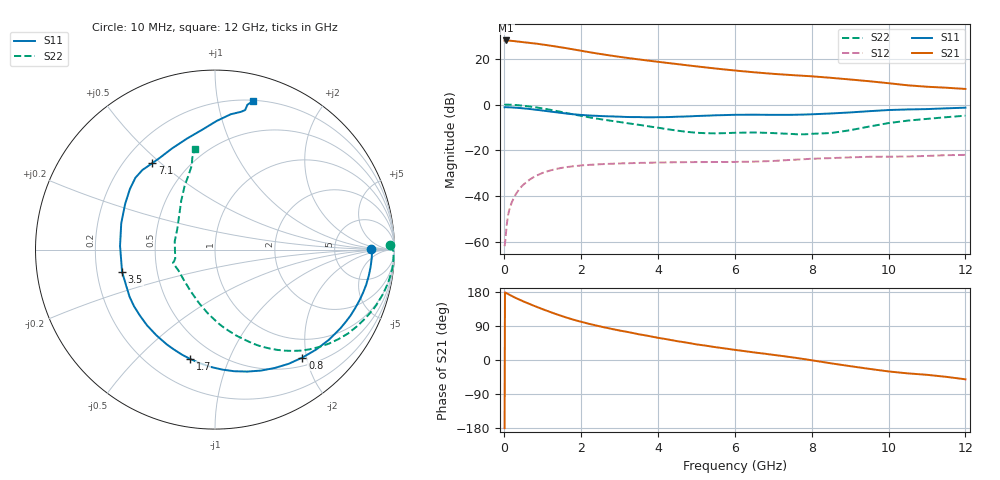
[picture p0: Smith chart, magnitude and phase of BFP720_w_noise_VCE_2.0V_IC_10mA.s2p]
! Infineon Technologies  Discrete & RF Semiconductors
! BFP720
! VCE =  2.0 V,  IC =  10 mA
! Common Emitter S-Parameters:  Aug 2012
# GHz  S  MA  R  50
!  f  S11  S21  S12  S22
! GHz  MAG  ANG  MAG  ANG  MAG  ANG  MAG  ANG
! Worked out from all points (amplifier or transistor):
!   105 points, 10 MHz to 12 GHz, reference 50 ohm
!   highest |S21| = 28.0 dB at 50 MHz (marker M1)
!   |S21| within 3 dB of that: start of sweep to 1.474 GHz
!   unconditionally stable (mu >= 1): 5.531 GHz to 11.32 GHz
!   at 300 MHz: K = 0.08, MSG = 33.5 dB, |S12| = -39.3 dB
!   at 3.6 GHz: K = 0.70, MSG = 22.5 dB, |S12| = -25.5 dB
!   at 12 GHz: K = 0.82, MSG = 14.4 dB, |S12| = -22.0 dB
!   lowest NFmin = 0.53 dB at 450 MHz
!   S11 on the Smith chart (normalised r, x): 10 MHz: 14, +0; 800 MHz: 0.64, -1.92; 1.7 GHz: 0.37, -0.73; 3.5 GHz: 0.31, -0.11; 7.1 GHz: 0.31, +0.47; 12 GHz: 0.21, +1.27
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0.01  0.8704 0.1  24.92 -179.9  0.0008 -54.5  0.9762 1.4
0.02  0.8749 -1.2  24.95 178.3  0.0009 105.4  0.9942 -0.6
0.05  0.8744 -3.2  25.21 176.8  0.0017 92.5  0.9953 -2.0
0.25  0.8591 -16.3  24.44 166.2  0.0091 81.0  0.9822 -10.7
0.4  0.84 -25.9  23.65 159.1  0.0144 75.5  0.9586 -16.9
0.6  0.8094 -38.4  22.61 150.3  0.0209 68.8  0.9196 -24.8
0.8  0.7738 -51.0  21.67 142.0  0.0268 62.3  0.8751 -32.4
1  0.7388 -63.2  20.52 134.1  0.032 56.2  0.8225 -39.6
1.2  0.7028 -75.2  19.41 126.6  0.0362 50.7  0.7677 -46.3
1.4  0.6696 -86.6  18.25 119.4  0.0398 45.6  0.7124 -52.4
1.7  0.6247 -102.9  16.61 109.5  0.0437 39.0  0.6332 -60.7
2.1  0.5846 -120.5  14.51 98.3  0.0472 32.1  0.5465 -69.8
2.4  0.5671 -131.8  13.17 90.8  0.049 28.0  0.4943 -76.0
2.8  0.5507 -145.0  11.69 81.9  0.0508 23.6  0.4388 -83.3
3.5  0.5325 -166.5  9.714 67.9  0.0529 17.8  0.3608 -95.8
4.1  0.5297 175.0  8.413 57.0  0.0541 14.0  0.3021 -108.8
5  0.5617 153.0  6.844 41.3  0.0552 9.5  0.2421 -136.1
6.1  0.5975 136.8  5.456 25.5  0.0558 6.9  0.242 -159.7
7.1  0.595 125.9  4.631 12.3  0.0591 6.9  0.2354 -164.6
8.5  0.6379 104.2  3.843 -8.7  0.0674 1.4  0.2384 152.2
10.5  0.7814 79.3  2.635 -35.3  0.0731 -8.7  0.4455 109.0
12  0.8543 75.7  2.193 -51.0  0.0793 -16.1  0.5709 101.4
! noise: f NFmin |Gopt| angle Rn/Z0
0.45  0.53  0.29  1  0.21
1.8  0.58  0.26  18  0.12
2.4  0.64  0.23  38  0.29
5.5  0.78  0.11  20  0.14
10  0.97  0.4  -78  0.22
